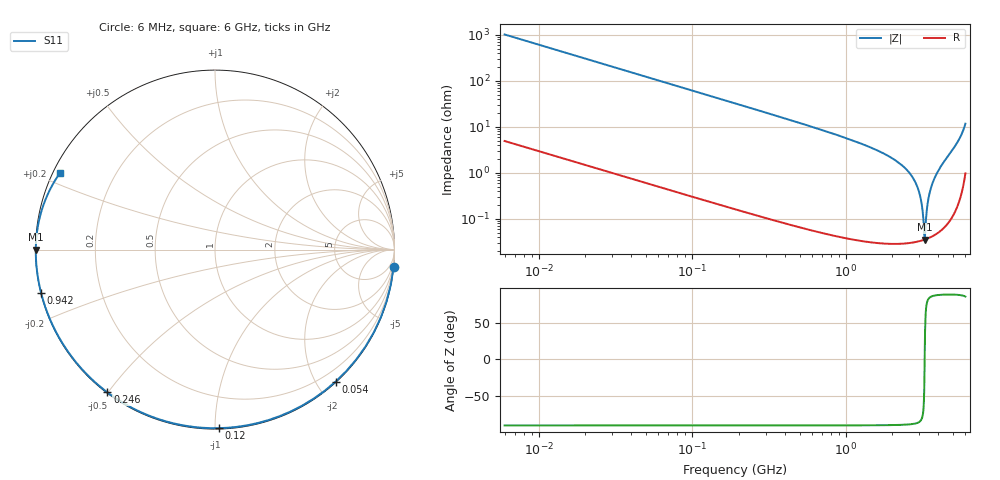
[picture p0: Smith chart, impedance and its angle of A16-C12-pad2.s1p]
! yapnr Order 0 O0-M: A16 port 2, 12 mm C-pad
! stackup OSHPARK-4L-EM528, nominal parameters; geometry of the OSHPARK-4L-FR408HR design
! model: 2D quasi-static RLGC (Djordjevic-Sarkar, Huray roughness, Wheeler loss); generated by python -m yapnr.rf.coupons expected --stackup OSHPARK-4L-FR408HR --upload M
! open-ended wide line + KJK open end; the line-to-pad step not modelled; 50 ohm
# GHz S DB R 50
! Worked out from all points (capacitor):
!   1000 points, 6 MHz to 6 GHz, reference 50 ohm
!   read as one part to ground: C = 26 pF near 36 MHz
!   lowest |Z| = 35.2 mohm at 3.258 GHz (marker M1)
!   series resonance near 3.258 GHz, so ESL is about 92 pH
!   S11 on the Smith chart (normalised r, x): 6 MHz: 0, -20; 54 MHz: 0.01, -2.27; 120 MHz: 0.01, -1.02; 246 MHz: 0.00, -0.50; 942 MHz: 0.00, -0.12; 6 GHz: 0.02, +0.23
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0.006  -0.00 -5.6
0.018  -0.01 -16.8
0.03  -0.02 -27.6
0.054  -0.03 -47.5
0.066  -0.04 -56.6
0.084  -0.04 -68.8
0.102  -0.04 -79.5
0.12  -0.04 -88.7
0.15  -0.04 -101.4
0.18  -0.04 -111.4
0.21  -0.04 -119.4
0.246  -0.03 -127.0
0.282  -0.03 -133.1
0.324  -0.03 -138.7
0.42  -0.02 -147.7
0.57  -0.02 -156.2
0.756  -0.02 -162.2
0.942  -0.01 -166.1
1.506  -0.01 -172.3
2.256  -0.01 -176.4
3.006  -0.01 -179.2
3.258  -0.01 -180.0
3.756  -0.02 178.3
4.506  -0.02 175.3
5.256  -0.06 170.2
5.682  -0.13 164.1
5.838  -0.19 160.2
6  -0.32 153.8
